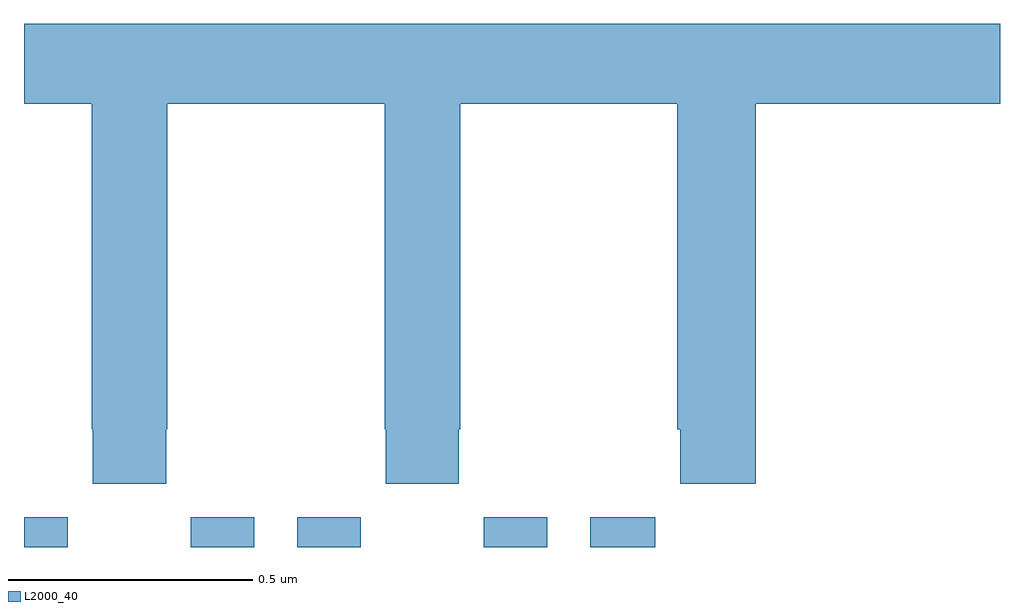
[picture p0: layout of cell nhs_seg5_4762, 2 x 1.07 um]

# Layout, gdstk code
import gdstk
lib = gdstk.Library(unit=1e-6, precision=1e-09)
def R(c, l, rs):  # rectangles x0, y0, x1, y1
    for r in rs: c.add(gdstk.rectangle(r[:2], r[2:], *l))
def P(c, l, *ps):  # polygons
    for p in ps: c.add(gdstk.Polygon(p, *l))
L2000_40 = (2000, 40)

nhs_seg5_4762 = lib.new_cell('nhs_seg5_4762')
R(nhs_seg5_4762, L2000_40, [(174,907.799,174.09,907.861), (174.342,907.799,174.472,907.861), (174.56,907.799,174.69,907.861), (174.942,907.799,175.072,907.861), (175.16,907.799,175.294,907.861)])
P(nhs_seg5_4762, L2000_40, [(174.291,908.041),(174.294,908.041),(174.294,908.708),(174.739,908.708),(174.739,908.041),(174.741,908.041),(174.741,907.929),(174.891,907.929),(174.891,908.041),(174.894,908.041),(174.894,908.708),(175.339,908.708),(175.339,908.041),(175.345,908.041),(175.345,907.929),(175.499,907.929),(175.499,908.708),(176,908.708),(176,908.872),(174,908.872),(174,908.708),(174.139,908.708),(174.139,908.041),(174.141,908.041),(174.141,907.929),(174.291,907.929)])

lib.write_gds('nhs_seg5_4762.gds')
